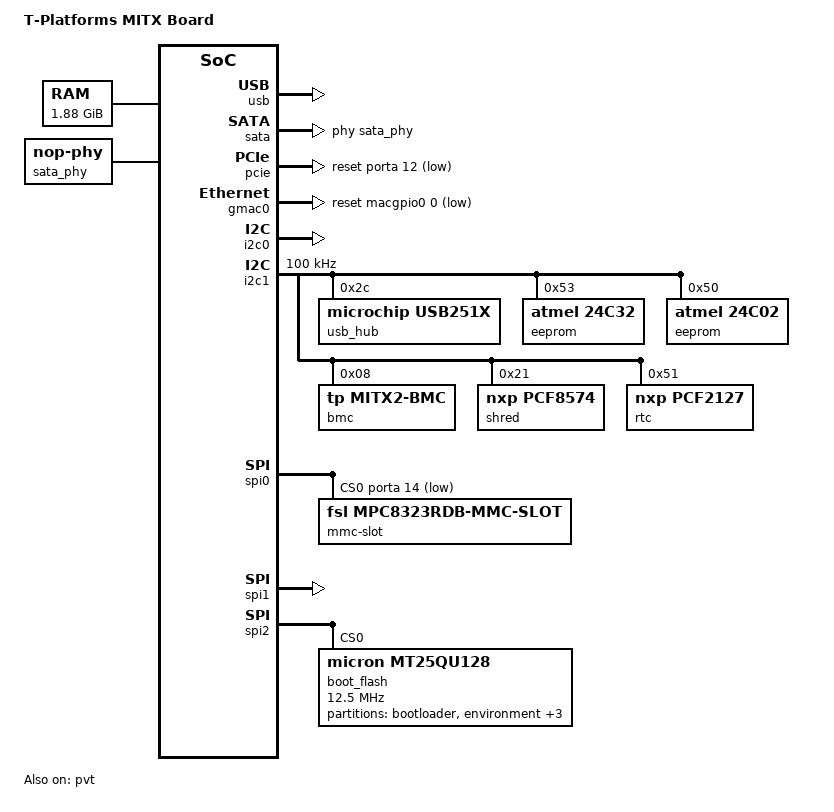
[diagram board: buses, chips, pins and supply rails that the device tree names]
// SPDX-License-Identifier: GPL-2.0+
/*
 * T-Platforms MITX board device tree.
 *
 * Copyright (C) 2017-2019 T-Platforms 
 *
 */

#include <dt-bindings/interrupt-controller/mips-gic.h>
#include <dt-bindings/gpio/gpio.h>

/dts-v1/;

#include "baikal_t1_soc.dtsi"

/ {
	model = "T-Platforms MITX Board";
	compatible = "baikal,mips", "baikal,baikal-t1-soc";

	aliases {
		spi0 = &spi0;
		spi1 = &spi1;
		spi2 = &spi2;
	};

	chosen {
		bootargs = "root=/dev/ram rw console=ttyS0,115200n8 earlyprintk=uart8250,mmio32,0x1F04A000,115200 nohtw";
		linux,initrd-start = <0 0x01000000>;
		linux,initrd-end   = <0 0x02000000>;
		stdout-path = "serial0:115200n8";
	};

	memory {
		device_type = "memory";
		reg = <0 0x00000000 0 0x08000000>,
		      <0 0x20000000 0 0x70000000>;
	};

	sata_phy: phy@0 {
		compatible = "nop-phy";
		#phy-cells = <0>;
		clocks;
	};

	macgpio0: macgpio@1F05E0E0 {
		compatible = "snps,dwmac-gpio";
		reg = <0 0x1f05e0e0 0 0x4>;
		#gpio-cells = <2>;
	};

};

&usb {
	status = "okay";
};

&sata {
	status = "okay";
	phys = <&sata_phy>;
	phy-names = "sata-phy";
};

&pcie {
	status = "okay";
	snps,reset-gpio = <&porta 12 GPIO_ACTIVE_LOW>;
};

&gmac0 {
	status = "okay";
	snps,reset-gpio = <&macgpio0 0 GPIO_ACTIVE_LOW>;
	dwmac-reset-phy;
	dwmac-reconfig-phy;
};

&gpio {
	status = "okay";
};

&gpio3 {
	status = "okay";
};

&i2c0 {
	status = "okay";
};

&i2c1 {
	status = "okay";
	clock-frequency = <100000>;
	u-boot,dm-pre-reloc;

	usb_hub: usb_hub@2c {
		compatible = "microchip,usb251x", "i2c-generic";
		reg = <0x2c>;
	};

	eeprom@53 {
		compatible = "atmel,24c32";
		pagesize = <32>;
		reg = <0x53>;
		u-boot,i2c-offset-len = <2>;
	};

	eeprom@50 {
		compatible = "atmel,24c02";
		pagesize = <16>;
		reg = <0x50>;
		u-boot,dm-pre-reloc;
	};

	bmc@8 {
		compatible = "tp,mitx2-bmc", "t-platforms,mitx2-bmc";
		reg = <0x08>;
	};

	shred: gpio@21 {
		compatible = "nxp,pcf8574";
		reg = <0x21>;
		gpio-controller;
		#gpio-cells = <2>;
		lines-initial-states = <0x0>;
	};

	rtc: rtc@51 {
		compatible = "nxp,pcf2127", "pcf2127-rtc";
		reg = <0x51>;
	};
};

&spi0 {
	num-cs = <2>;
	cs-gpios = <&porta 14 GPIO_ACTIVE_LOW>, <0>;
	cs-gpio = <&porta 14 GPIO_ACTIVE_LOW>;
	status = "okay";
	spi-max-frequency = <5000000>;
	dummy-tx = <0xff>;

	mmc-slot@0 {
		compatible = "fsl,mpc8323rdb-mmc-slot", "mmc-spi-slot";
		reg = <0>;
//		gpios = <&porta 15 GPIO_ACTIVE_LOW>, <0>;
		voltage-ranges = <2700 3600>;
		max-frequency = <5000000>;
	};
};

&spi1 {
	num-cs = <1>;
	cs-gpios = <0>;
	status = "okay";
	spi-max-frequency = <5000000>;
};

&spi2 {
	status = "okay";
	num-cs = <1>;
	spi-max-frequency = <25000000>;

	boot_flash: spi_flash@0 {
		#address-cells = <1>;
		#size-cells = <1>;
		reg = <0>;
		compatible = "micron,mt25qu128", "jedec,spi-nor";
		spi-max-frequency = <12500000>;
		m25p,fast-read;

		partition@0 {
			label = "bootloader";
			reg = <0x0 0xE0000>;
			read-only;
		};

		partition@1 {
			label = "environment";
			reg = <0xE0000 0x10000>;
		};

		partition@2 {
			label = "information";
			reg = <0xF0000 0x10000>;
			read-only;
		};

		partition@3 {
			label = "multiimage";
			reg = <0x100000 0xF00000>;
			read-only;
		};

		partition@4 {
			label = "firmware";
			reg = <0x0 0x1000000>;
		};
	};
};

&pvt {
	status = "okay";
};
